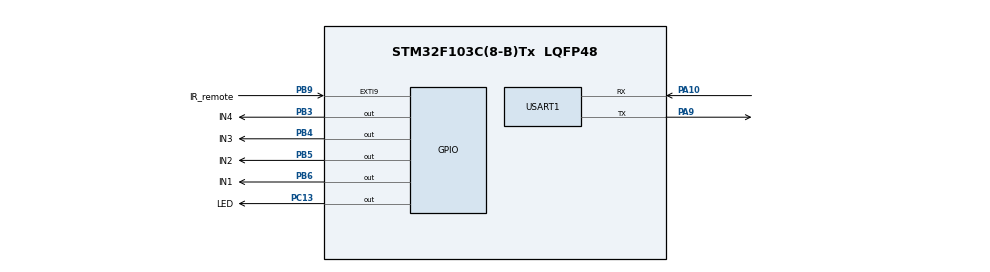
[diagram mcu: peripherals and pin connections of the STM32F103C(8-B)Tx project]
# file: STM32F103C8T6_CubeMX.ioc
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Mcu.Family=STM32F1
Mcu.Name=STM32F103C(8-B)Tx
Mcu.Package=LQFP48
NVIC.EXTI9_5_IRQn=true\:0\:1\:true\:false\:true\:true\:true\:true
NVIC.PriorityGroup=NVIC_PRIORITYGROUP_2
PA10.Mode=Asynchronous
PA10.Signal=USART1_RX
PA13.Mode=Serial_Wire
PA13.Signal=SYS_JTMS-SWDIO
PA14.Mode=Serial_Wire
PA14.Signal=SYS_JTCK-SWCLK
PA9.Mode=Asynchronous
PA9.Signal=USART1_TX
PB3.GPIO_Label=IN4
PB3.GPIO_PuPd=GPIO_NOPULL
PB3.Signal=GPIO_Output
PB4.GPIO_Label=IN3
PB4.GPIO_PuPd=GPIO_NOPULL
PB4.Signal=GPIO_Output
PB5.GPIO_Label=IN2
PB5.GPIO_PuPd=GPIO_NOPULL
PB5.Signal=GPIO_Output
PB6.GPIO_Label=IN1
PB6.GPIO_PuPd=GPIO_NOPULL
PB6.Signal=GPIO_Output
PB9.GPIO_Label=IR_remote
PB9.GPIO_ModeDefaultEXTI=GPIO_MODE_IT_FALLING
PB9.GPIO_PuPd=GPIO_PULLUP
PB9.Signal=GPXTI9
PC13-TAMPER-RTC.GPIO_Label=LED
PC13-TAMPER-RTC.GPIO_PuPd=GPIO_PULLUP
PC13-TAMPER-RTC.PinState=GPIO_PIN_RESET
PC13-TAMPER-RTC.Signal=GPIO_Output
PC14-OSC32_IN.Mode=LSE-External-Oscillator
PC14-OSC32_IN.Signal=RCC_OSC32_IN
PC15-OSC32_OUT.Mode=LSE-External-Oscillator
PC15-OSC32_OUT.Signal=RCC_OSC32_OUT
PD0-OSC_IN.Mode=HSE-External-Oscillator
PD0-OSC_IN.Signal=RCC_OSC_IN
PD1-OSC_OUT.Mode=HSE-External-Oscillator
PD1-OSC_OUT.Signal=RCC_OSC_OUT
ProjectManager.HeapSize=0x200
ProjectManager.StackSize=0x400
ProjectManager.TargetToolchain=MDK-ARM V5.32
RCC.AHBFreq_Value=72000000
RCC.APB1CLKDivider=RCC_HCLK_DIV2
RCC.APB1Freq_Value=36000000
RCC.APB1TimFreq_Value=72000000
RCC.APB2Freq_Value=72000000
RCC.APB2TimFreq_Value=72000000
RCC.HCLKFreq_Value=72000000
RCC.PLLMUL=RCC_PLL_MUL9
RCC.PLLSourceVirtual=RCC_PLLSOURCE_HSE
RCC.SYSCLKFreq_VALUE=72000000
RCC.SYSCLKSource=RCC_SYSCLKSOURCE_PLLCLK
RCC.USBFreq_Value=72000000
TIM1.Prescaler=72-1
USART1.VirtualMode=VM_ASYNC
VP_TIM1_VS_ClockSourceINT.Mode=Internal
board=custom

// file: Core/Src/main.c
/* USER CODE BEGIN Header */
/**
 ******************************************************************************
 * @file           : main.c
 * @brief          : Main program body
 ******************************************************************************
 * @attention
 *
 * Copyright (c) 2024 STMicroelectronics.
 * All rights reserved.
 *
 * This software is licensed under terms that can be found in the LICENSE file
 * in the root directory of this software component.
 * If no LICENSE file comes with this software, it is provided AS-IS.
 *
 ******************************************************************************
 */
/* USER CODE END Header */
#include "main.h"
#include "tim.h"
#include "usart.h"
#include "gpio.h"

/* USER CODE BEGIN Includes */

#include <stdio.h>
#include "IR_Remote.h"

/* USER CODE END Includes */

/* USER CODE BEGIN PTD */

uint32_t free_time_delay;

/* USER CODE END PTD */

void SystemClock_Config( void );

int main( void ) {

    /* MCU Configuration--------------------------------------------------------*/

    /* Reset of all peripherals, Initializes the Flash interface and the Systick. */
    HAL_Init();

    /* Configure the system clock */
    SystemClock_Config();

    /* Initialize all configured peripherals */
    MX_GPIO_Init();
    MX_TIM1_Init();
    MX_USART1_UART_Init();
    /* USER CODE BEGIN 2 */

    printf( "IR Remote testing...please press the controller!!!\r\n" );

    /* USER CODE END 2 */

    /* Infinite loop */
    /* USER CODE BEGIN WHILE */
    while ( 1 ) {

        uint32_t temp = 1;

        // 8拍驱动 28BYJ-48 五线四相
        HAL_GPIO_WritePin( IN1_GPIO_Port, IN1_Pin, GPIO_PIN_SET );
        HAL_GPIO_WritePin( IN2_GPIO_Port, IN2_Pin, GPIO_PIN_SET );
        HAL_GPIO_WritePin( IN3_GPIO_Port, IN3_Pin, GPIO_PIN_RESET );
        HAL_GPIO_WritePin( IN4_GPIO_Port, IN4_Pin, GPIO_PIN_RESET );
        HAL_Delay( temp );

        HAL_GPIO_WritePin( IN1_GPIO_Port, IN1_Pin, GPIO_PIN_RESET );
        HAL_GPIO_WritePin( IN2_GPIO_Port, IN2_Pin, GPIO_PIN_SET );
        HAL_GPIO_WritePin( IN3_GPIO_Port, IN3_Pin, GPIO_PIN_RESET );
        HAL_GPIO_WritePin( IN4_GPIO_Port, IN4_Pin, GPIO_PIN_RESET );
        HAL_Delay( temp );

        HAL_GPIO_WritePin( IN1_GPIO_Port, IN1_Pin, GPIO_PIN_RESET );
        HAL_GPIO_WritePin( IN2_GPIO_Port, IN2_Pin, GPIO_PIN_SET );
        HAL_GPIO_WritePin( IN3_GPIO_Port, IN3_Pin, GPIO_PIN_SET );
        HAL_GPIO_WritePin( IN4_GPIO_Port, IN4_Pin, GPIO_PIN_RESET );
        HAL_Delay( temp );

        HAL_GPIO_WritePin( IN1_GPIO_Port, IN1_Pin, GPIO_PIN_RESET );
        HAL_GPIO_WritePin( IN2_GPIO_Port, IN2_Pin, GPIO_PIN_RESET );
        HAL_GPIO_WritePin( IN3_GPIO_Port, IN3_Pin, GPIO_PIN_SET );
        HAL_GPIO_WritePin( IN4_GPIO_Port, IN4_Pin, GPIO_PIN_RESET );
        HAL_Delay( temp );

        HAL_GPIO_WritePin( IN1_GPIO_Port, IN1_Pin, GPIO_PIN_RESET );
        HAL_GPIO_WritePin( IN2_GPIO_Port, IN2_Pin, GPIO_PIN_RESET );
        HAL_GPIO_WritePin( IN3_GPIO_Port, IN3_Pin, GPIO_PIN_SET );
        HAL_GPIO_WritePin( IN4_GPIO_Port, IN4_Pin, GPIO_PIN_SET );
        HAL_Delay( temp );

        HAL_GPIO_WritePin( IN1_GPIO_Port, IN1_Pin, GPIO_PIN_RESET );
        HAL_GPIO_WritePin( IN2_GPIO_Port, IN2_Pin, GPIO_PIN_RESET );
        HAL_GPIO_WritePin( IN3_GPIO_Port, IN3_Pin, GPIO_PIN_RESET );
        HAL_GPIO_WritePin( IN4_GPIO_Port, IN4_Pin, GPIO_PIN_SET );
        HAL_Delay( temp );

        HAL_GPIO_WritePin( IN1_GPIO_Port, IN1_Pin, GPIO_PIN_SET );
        HAL_GPIO_WritePin( IN2_GPIO_Port, IN2_Pin, GPIO_PIN_RESET );
        HAL_GPIO_WritePin( IN3_GPIO_Port, IN3_Pin, GPIO_PIN_RESET );
        HAL_GPIO_WritePin( IN4_GPIO_Port, IN4_Pin, GPIO_PIN_SET );
        HAL_Delay( temp );

        HAL_GPIO_WritePin( IN1_GPIO_Port, IN1_Pin, GPIO_PIN_SET );
        HAL_GPIO_WritePin( IN2_GPIO_Port, IN2_Pin, GPIO_PIN_RESET );
        HAL_GPIO_WritePin( IN3_GPIO_Port, IN3_Pin, GPIO_PIN_RESET );
        HAL_GPIO_WritePin( IN4_GPIO_Port, IN4_Pin, GPIO_PIN_RESET );
        HAL_Delay( temp );

        /* USER CODE END WHILE */

    }
}

void SystemClock_Config( void ) {
    RCC_OscInitTypeDef RCC_OscInitStruct = { 0 };
    RCC_ClkInitTypeDef RCC_ClkInitStruct = { 0 };

    /** Initializes the RCC Oscillators according to the specified parameters
     * in the RCC_OscInitTypeDef structure.
     */
    RCC_OscInitStruct.OscillatorType = RCC_OSCILLATORTYPE_HSE;
    RCC_OscInitStruct.HSEState       = RCC_HSE_ON;
    RCC_OscInitStruct.HSEPredivValue = RCC_HSE_PREDIV_DIV1;
    RCC_OscInitStruct.HSIState       = RCC_HSI_ON;
    RCC_OscInitStruct.PLL.PLLState   = RCC_PLL_ON;
    RCC_OscInitStruct.PLL.PLLSource  = RCC_PLLSOURCE_HSE;
    RCC_OscInitStruct.PLL.PLLMUL     = RCC_PLL_MUL9;
    if ( HAL_RCC_OscConfig( &RCC_OscInitStruct ) != HAL_OK ) {
        Error_Handler();
    }

    /** Initializes the CPU, AHB and APB buses clocks
     */
    RCC_ClkInitStruct.ClockType      = RCC_CLOCKTYPE_HCLK | RCC_CLOCKTYPE_SYSCLK | RCC_CLOCKTYPE_PCLK1 | RCC_CLOCKTYPE_PCLK2;
    RCC_ClkInitStruct.SYSCLKSource   = RCC_SYSCLKSOURCE_PLLCLK;
    RCC_ClkInitStruct.AHBCLKDivider  = RCC_SYSCLK_DIV1;
    RCC_ClkInitStruct.APB1CLKDivider = RCC_HCLK_DIV2;
    RCC_ClkInitStruct.APB2CLKDivider = RCC_HCLK_DIV1;

    if ( HAL_RCC_ClockConfig( &RCC_ClkInitStruct, FLASH_LATENCY_2 ) != HAL_OK ) {
        Error_Handler();
    }
}

void Error_Handler( void ) {
    __disable_irq();
    while ( 1 ) {
    }
}
